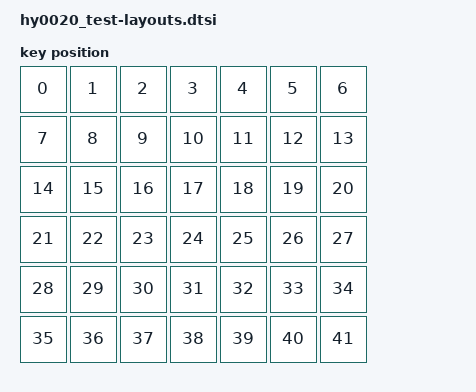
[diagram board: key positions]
#include <physical_layouts.dtsi>

/ {
    hy0020_test_layout: hy0020_test_layout {
        compatible = "zmk,physical-layout";
        display-name = "HY0020 Test 6x7";
        transform = <&default_transform>;
        keys =
            <&key_physical_attrs 100 100   0   0 0 0 0>
            <&key_physical_attrs 100 100 100   0 0 0 0>
            <&key_physical_attrs 100 100 200   0 0 0 0>
            <&key_physical_attrs 100 100 300   0 0 0 0>
            <&key_physical_attrs 100 100 400   0 0 0 0>
            <&key_physical_attrs 100 100 500   0 0 0 0>
            <&key_physical_attrs 100 100 600   0 0 0 0>
            <&key_physical_attrs 100 100   0 100 0 0 0>
            <&key_physical_attrs 100 100 100 100 0 0 0>
            <&key_physical_attrs 100 100 200 100 0 0 0>
            <&key_physical_attrs 100 100 300 100 0 0 0>
            <&key_physical_attrs 100 100 400 100 0 0 0>
            <&key_physical_attrs 100 100 500 100 0 0 0>
            <&key_physical_attrs 100 100 600 100 0 0 0>
            <&key_physical_attrs 100 100   0 200 0 0 0>
            <&key_physical_attrs 100 100 100 200 0 0 0>
            <&key_physical_attrs 100 100 200 200 0 0 0>
            <&key_physical_attrs 100 100 300 200 0 0 0>
            <&key_physical_attrs 100 100 400 200 0 0 0>
            <&key_physical_attrs 100 100 500 200 0 0 0>
            <&key_physical_attrs 100 100 600 200 0 0 0>
            <&key_physical_attrs 100 100   0 300 0 0 0>
            <&key_physical_attrs 100 100 100 300 0 0 0>
            <&key_physical_attrs 100 100 200 300 0 0 0>
            <&key_physical_attrs 100 100 300 300 0 0 0>
            <&key_physical_attrs 100 100 400 300 0 0 0>
            <&key_physical_attrs 100 100 500 300 0 0 0>
            <&key_physical_attrs 100 100 600 300 0 0 0>
            <&key_physical_attrs 100 100   0 400 0 0 0>
            <&key_physical_attrs 100 100 100 400 0 0 0>
            <&key_physical_attrs 100 100 200 400 0 0 0>
            <&key_physical_attrs 100 100 300 400 0 0 0>
            <&key_physical_attrs 100 100 400 400 0 0 0>
            <&key_physical_attrs 100 100 500 400 0 0 0>
            <&key_physical_attrs 100 100 600 400 0 0 0>
            <&key_physical_attrs 100 100   0 500 0 0 0>
            <&key_physical_attrs 100 100 100 500 0 0 0>
            <&key_physical_attrs 100 100 200 500 0 0 0>
            <&key_physical_attrs 100 100 300 500 0 0 0>
            <&key_physical_attrs 100 100 400 500 0 0 0>
            <&key_physical_attrs 100 100 500 500 0 0 0>
            <&key_physical_attrs 100 100 600 500 0 0 0>;
    };
};
